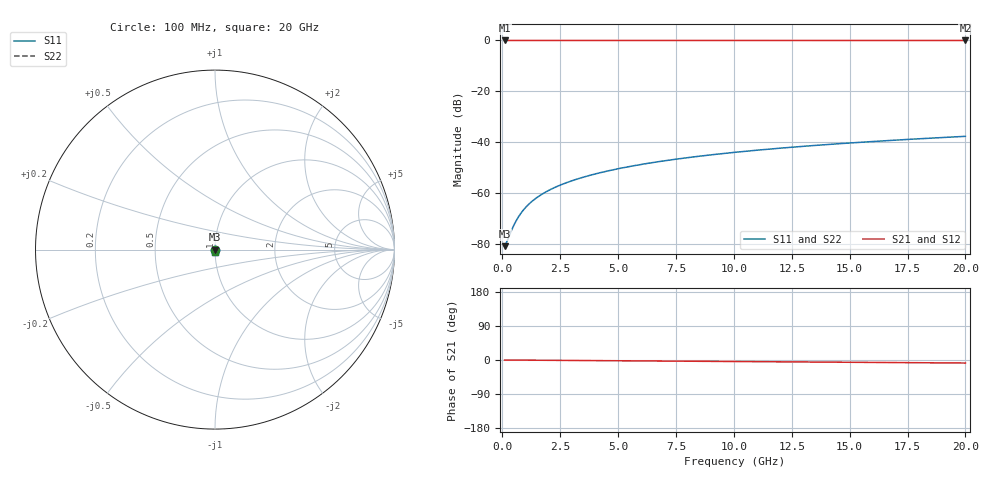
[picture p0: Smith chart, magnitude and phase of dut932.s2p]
! Touchstone file exported from HFSS 2026.1.0
!  File:  C:/ffzhzh/LocalFiles/Ansys_Project_Files/temp_train_TSV_932_1783186861_55132.aedt
!  Generated:  01:42:18 AM Jul  5, 2026
!  Design:  TSV
!  Project:  temp_train_TSV_932_1783186861_55132
! Variables:
!  h_bsmrdl = 2um
!  h_ox = 20um
!  h_rdl = 5um
!  h_sub = 79.54um
!  h_tmrdl = 5um
!  h_tsv = 79.54um
!  h_via = 3um
!  l_bsmrdl = 300um
!  l_sub = 425.68um
!  l_tmrdl = 200um
!  m_sub = 200um
!  pitch = 46.82um
!  r_tsv = 12.84um
!  s_tmrdl = 10um
!  w_bsmrdl = 18um
!  w_sub = 500um
!  w_tmrdl = 12um
!  x_tsv_center1 = 206um
!  x_tsv_center2 = 524um
!  x_tsv_center3 = 736um
!  x_tsv_center4 = 1054um
!  x_tsv_center5 = 1266um
!  x_tsv_center6 = 1584um
# GHz S MA R 50.000000
! Terminal data exported
! Port[1] = TSV1_1_T1
! Port[2] = TSV1_1_T2
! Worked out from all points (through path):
!   200 points, 100 MHz to 20 GHz, reference 50 ohm
!   highest |S21| = 0.00 dB at 100 MHz (marker M1); lowest = 0.0 dB at 20 GHz (marker M2)
!   group delay of S21, straight-line fit = 1.11 ps
!   lowest |S11| = -80.7 dB at 100 MHz (marker M3), VSWR 1.00, Z = 50 - j0.00236 ohm
!   |S11| at or under -10 dB: start of sweep to end of sweep
!   |S22| runs from -80.7 to -37.6 dB; largest |S21 - S12| = 3e-15
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0.1  9.188e-05 -14.9  0.9999 -0.0  0.9999 -0.0  9.188e-05 -14.9
! Gamma 0 0 0 0
! Port Impedance 50 0 50 0
0.2  0.0001137 -26.4  0.9999 -0.1  0.9999 -0.1  0.0001137 -26.4
0.4  0.0001888 -40.6  0.9999 -0.2  0.9999 -0.2  0.0001888 -40.6
0.5  0.0002371 -45.3  0.9998 -0.2  0.9998 -0.2  0.0002371 -45.3
0.6  0.00029 -49.2  0.9998 -0.2  0.9998 -0.2  0.00029 -49.2
0.7  0.000346 -52.6  0.9998 -0.3  0.9998 -0.3  0.000346 -52.6
0.8  0.0004041 -55.5  0.9998 -0.3  0.9998 -0.3  0.0004041 -55.5
1  0.0005239 -60.2  0.9997 -0.4  0.9997 -0.4  0.0005239 -60.2
1.3  0.0007072 -65.4  0.9997 -0.5  0.9997 -0.5  0.0007072 -65.4
1.7  0.0009536 -70.0  0.9997 -0.7  0.9997 -0.7  0.0009536 -70.0
2.2  0.001263 -73.7  0.9996 -0.9  0.9996 -0.9  0.001263 -73.7
2.8  0.001636 -76.5  0.9996 -1.1  0.9996 -1.1  0.001636 -76.5
3.5  0.002076 -78.7  0.9995 -1.4  0.9995 -1.4  0.002076 -78.7
4.2  0.002521 -80.3  0.9995 -1.7  0.9995 -1.7  0.002521 -80.3
5  0.003037 -81.7  0.9995 -2.0  0.9995 -2.0  0.003037 -81.7
5.9  0.003625 -82.9  0.9994 -2.4  0.9994 -2.4  0.003625 -82.9
6.8  0.004217 -84.0  0.9994 -2.7  0.9994 -2.7  0.004217 -84.0
8.3  0.005214 -85.5  0.9993 -3.3  0.9993 -3.3  0.005214 -85.5
10.1  0.006419 -87.1  0.9992 -4.0  0.9992 -4.0  0.006419 -87.1
13.4  0.008641 -89.4  0.9991 -5.4  0.9991 -5.4  0.008641 -89.4
16.7  0.01088 -91.4  0.9989 -6.7  0.9989 -6.7  0.01088 -91.4
20  0.01314 -93.2  0.9988 -8.0  0.9988 -8.0  0.01314 -93.2
